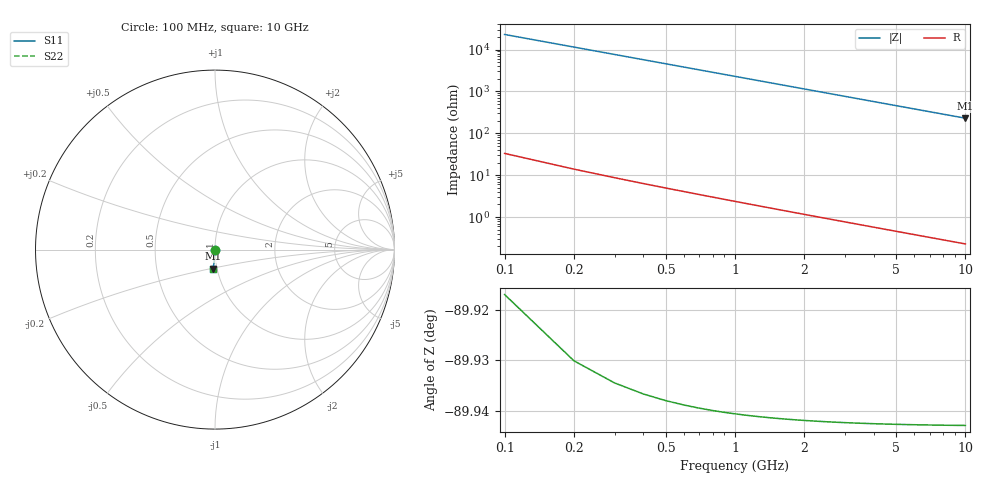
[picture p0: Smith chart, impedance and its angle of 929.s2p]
# Hz S RI R 50.00
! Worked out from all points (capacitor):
!   100 points, 100 MHz to 10 GHz, reference 50 ohm
!   read as one part in shunt: C = 69.6 fF near 100 MHz
!   lowest |Z| = 229 ohm at 10 GHz (marker M1)
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1e8  8.36e-07 -0.00109  1 -0.0011  1 -0.0011  8.36e-07 -0.00109
2e8  -3.81e-06 -0.00217  1 -0.0022  1 -0.0022  -3.81e-06 -0.00217
3e8  -1.09e-05 -0.00326  1 -0.0033  1 -0.0033  -1.09e-05 -0.00326
4e8  -2.03e-05 -0.00435  1 -0.0044  1 -0.0044  -2.03e-05 -0.00435
5e8  -3.21e-05 -0.00543  1 -0.0055  1 -0.0055  -3.21e-05 -0.00543
6e8  -4.63e-05 -0.00652  0.9999 -0.0066  0.9999 -0.0066  -4.63e-05 -0.00652
7e8  -6.3e-05 -0.0076  0.9999 -0.0077  0.9999 -0.0077  -6.3e-05 -0.0076
8e8  -8.2e-05 -0.00869  0.9999 -0.0088  0.9999 -0.0088  -8.2e-05 -0.00869
9e8  -0.000103 -0.00978  0.9999 -0.0099  0.9999 -0.0099  -0.000103 -0.00978
1.1e9  -0.000153 -0.0119  0.9998 -0.0121  0.9998 -0.0121  -0.000153 -0.0119
1.4e9  -0.000246 -0.0152  0.9997 -0.0154  0.9997 -0.0154  -0.000246 -0.0152
1.8e9  -0.000403 -0.0195  0.9996 -0.0198  0.9996 -0.0198  -0.000403 -0.0195
2.1e9  -0.000546 -0.0228  0.9994 -0.0231  0.9994 -0.0231  -0.000546 -0.0228
2.5e9  -0.00077 -0.0271  0.9992 -0.0275  0.9992 -0.0275  -0.00077 -0.0271
2.9e9  -0.00103 -0.0315  0.999 -0.0319  0.999 -0.0319  -0.00103 -0.0315
3.4e9  -0.00141 -0.0369  0.9986 -0.0373  0.9986 -0.0373  -0.00141 -0.0369
4.2e9  -0.00214 -0.0455  0.9978 -0.0461  0.9978 -0.0461  -0.00214 -0.0455
5.1e9  -0.00314 -0.0552  0.9968 -0.0559  0.9968 -0.0559  -0.00314 -0.0552
5.9e9  -0.00419 -0.0637  0.9958 -0.0646  0.9958 -0.0646  -0.00419 -0.0637
6.7e9  -0.00539 -0.0723  0.9946 -0.0732  0.9946 -0.0732  -0.00539 -0.0723
8.4e9  -0.00841 -0.0903  0.9916 -0.0915  0.9916 -0.0915  -0.00841 -0.0903
1e10  -0.0119 -0.107  0.9881 -0.1085  0.9881 -0.1085  -0.0119 -0.107
